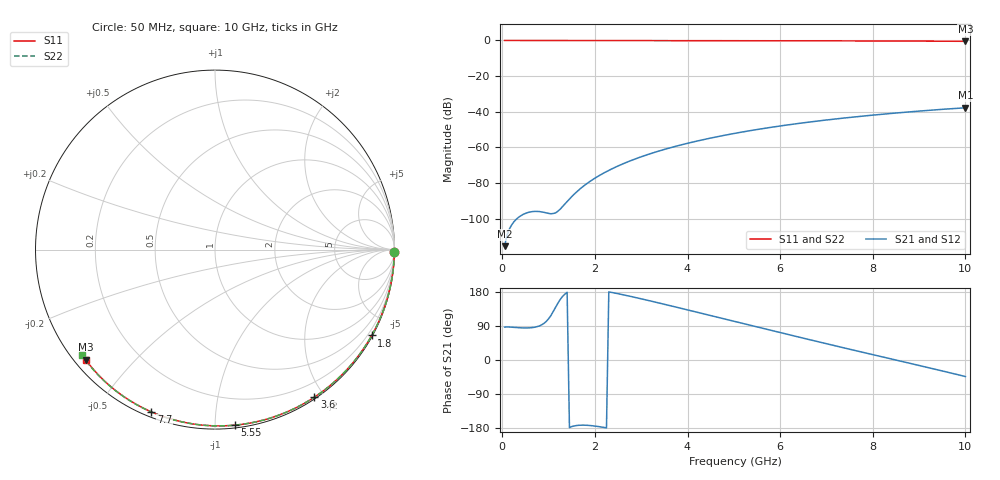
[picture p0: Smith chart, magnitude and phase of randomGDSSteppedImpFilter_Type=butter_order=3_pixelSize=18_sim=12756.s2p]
! freq	dB(S11)	phase(S11)	dB(S12)	phase(S12)
!  dB(S21)	phase(S21)	dB(S22)	phase(S22)
!S-par simulation data
#  GHz  S  DB  R 50
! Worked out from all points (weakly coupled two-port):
!   200 points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, 50 MHz to 10 GHz, reference 50 ohm
!   highest |S21| = -37.75 dB at 10 GHz (marker M1); lowest = -115.3 dB at 50 MHz (marker M2)
!   lowest |S11| = -0.5 dB at 10 GHz (marker M3), VSWR 36.25, Z = 1.57 - j18.4 ohm
!   |S11| at or under -10 dB: nowhere
!   |S22| runs from -0.5 to 0.0 dB; largest |S21 - S12| = 0
!   S11 on the Smith chart (normalised r, x): 50 MHz: open; 1.8 GHz: 0.03, -3.91; 3.6 GHz: 0.02, -1.88; 5.55 GHz: 0.02, -1.12; 7.7 GHz: 0.02, -0.68; 10 GHz: 0.03, -0.37
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0.05  -0.00 -0.8  -115.34 86.8  -115.34 86.8  -0.00 -0.8
0.45  -0.01 -7.3  -97.52 84.6  -97.52 84.6  -0.01 -7.4
0.9  -0.02 -14.5  -96.38 96.6  -96.38 96.6  -0.02 -14.7
1.75  -0.04 -27.9  -81.75 -171.9  -81.75 -171.9  -0.04 -28.2
1.8  -0.04 -28.7  -80.75 -172.1  -80.75 -172.1  -0.04 -29.0
1.85  -0.04 -29.5  -79.81 -172.5  -79.81 -172.5  -0.04 -29.8
2  -0.04 -31.8  -77.22 -174.3  -77.22 -174.3  -0.04 -32.2
2.15  -0.04 -34.1  -74.92 -177.0  -74.92 -177.0  -0.04 -34.5
2.35  -0.05 -37.2  -72.20 178.6  -72.20 178.6  -0.05 -37.7
2.55  -0.05 -40.3  -69.78 173.7  -69.78 173.7  -0.05 -40.8
2.95  -0.06 -46.4  -65.67 162.9  -65.67 162.9  -0.06 -46.9
3.4  -0.07 -53.1  -61.85 150.0  -61.85 150.0  -0.07 -53.7
3.6  -0.08 -56.0  -60.35 144.1  -60.35 144.1  -0.08 -56.7
4.3  -0.09 -66.2  -55.85 123.3  -55.85 123.3  -0.09 -66.9
5.05  -0.12 -76.7  -51.94 100.8  -51.94 100.8  -0.12 -77.6
5.55  -0.14 -83.5  -49.73 85.8  -49.73 85.8  -0.14 -84.5
6.1  -0.16 -90.9  -47.58 69.4  -47.58 69.4  -0.16 -91.9
6.7  -0.19 -98.7  -45.52 51.7  -45.52 51.7  -0.19 -99.9
7.7  -0.25 -111.4  -42.63 22.7  -42.63 22.7  -0.26 -112.7
8.35  -0.30 -119.5  -41.03 4.1  -41.03 4.1  -0.31 -120.9
9.2  -0.39 -129.9  -39.20 -20.1  -39.20 -20.1  -0.39 -131.6
10  -0.48 -139.6  -37.75 -43.6  -37.75 -43.6  -0.48 -141.6
